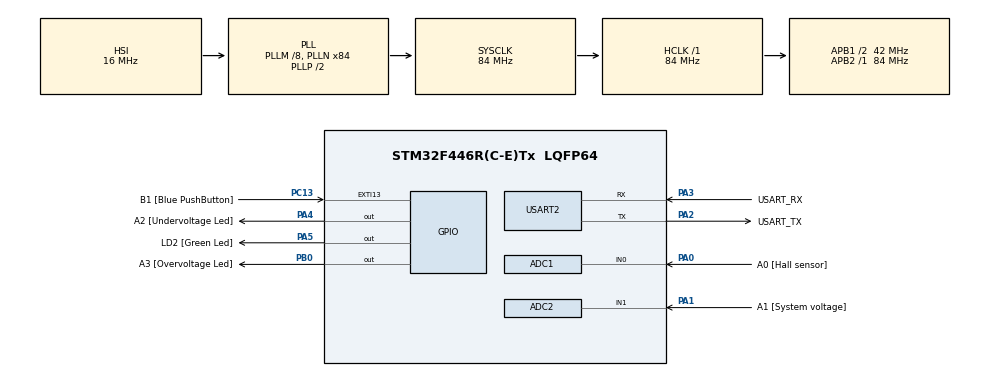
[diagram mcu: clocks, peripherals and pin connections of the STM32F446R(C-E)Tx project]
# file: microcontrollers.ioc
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ADC1.Channel-0\#ChannelRegularConversion=ADC_CHANNEL_0
ADC1.ClockPrescaler=ADC_CLOCK_SYNC_PCLK_DIV4
ADC1.NbrOfConversionFlag=1
ADC1.Rank-0\#ChannelRegularConversion=1
ADC1.SamplingTime-0\#ChannelRegularConversion=ADC_SAMPLETIME_3CYCLES
ADC1.master=1
ADC2.Channel-0\#ChannelRegularConversion=ADC_CHANNEL_1
ADC2.ClockPrescaler=ADC_CLOCK_SYNC_PCLK_DIV4
ADC2.NbrOfConversionFlag=1
ADC2.Rank-0\#ChannelRegularConversion=1
ADC2.SamplingTime-0\#ChannelRegularConversion=ADC_SAMPLETIME_3CYCLES
Mcu.Family=STM32F4
Mcu.Name=STM32F446R(C-E)Tx
Mcu.Package=LQFP64
NVIC.EXTI15_10_IRQn=true\:0\:0\:false\:false\:true\:true\:true\:true
NVIC.PriorityGroup=NVIC_PRIORITYGROUP_0
NVIC.TIM8_TRG_COM_TIM14_IRQn=true\:0\:0\:false\:false\:true\:true\:true\:true
NVIC.TIM8_UP_TIM13_IRQn=true\:0\:0\:false\:false\:true\:true\:true\:true
PA0-WKUP.GPIO_Label=A0 [Hall sensor]
PA0-WKUP.Signal=ADCx_IN0
PA1.GPIO_Label=A1 [System voltage]
PA1.Signal=ADCx_IN1
PA13.GPIO_Label=TMS
PA13.Mode=Serial_Wire
PA13.Signal=SYS_JTMS-SWDIO
PA14.GPIO_Label=TCK
PA14.Mode=Serial_Wire
PA14.Signal=SYS_JTCK-SWCLK
PA2.GPIO_Label=USART_TX
PA2.Mode=Asynchronous
PA2.Signal=USART2_TX
PA3.GPIO_Label=USART_RX
PA3.Mode=Asynchronous
PA3.Signal=USART2_RX
PA4.GPIO_Label=A2 [Undervoltage Led]
PA4.Signal=GPIO_Output
PA5.GPIO_Label=LD2 [Green Led]
PA5.Signal=GPIO_Output
PB0.GPIO_Label=A3 [Overvoltage Led]
PB0.Signal=GPIO_Output
PB3.GPIO_Label=SWO
PB3.Signal=SYS_JTDO-SWO
PC13.GPIO_Label=B1 [Blue PushButton]
PC13.GPIO_ModeDefaultEXTI=GPIO_MODE_IT_FALLING
PC13.Signal=GPXTI13
PC14-OSC32_IN.Mode=LSE-External-Oscillator
PC14-OSC32_IN.Signal=RCC_OSC32_IN
PC15-OSC32_OUT.Mode=LSE-External-Oscillator
PC15-OSC32_OUT.Signal=RCC_OSC32_OUT
PH0-OSC_IN.Mode=HSE-External-Oscillator
PH0-OSC_IN.Signal=RCC_OSC_IN
PH1-OSC_OUT.Mode=HSE-External-Oscillator
PH1-OSC_OUT.Signal=RCC_OSC_OUT
ProjectManager.HeapSize=0x200
ProjectManager.StackSize=0x400
ProjectManager.TargetToolchain=Makefile
RCC.48MHZClocksFreq_Value=84000000
RCC.AHBFreq_Value=84000000
RCC.APB1CLKDivider=RCC_HCLK_DIV2
RCC.APB1Freq_Value=42000000
RCC.APB1TimFreq_Value=84000000
RCC.APB2Freq_Value=84000000
RCC.APB2TimFreq_Value=84000000
RCC.CortexFreq_Value=84000000
RCC.FLatency-AdvancedSettings=FLASH_LATENCY_2
RCC.HCLKFreq_Value=84000000
RCC.HSE_VALUE=8000000
RCC.HSI_VALUE=16000000
RCC.PLLM=8
RCC.PLLN=84
RCC.SYSCLKFreq_VALUE=84000000
RCC.SYSCLKSource=RCC_SYSCLKSOURCE_PLLCLK
RCC.USBFreq_Value=84000000
RCC.VCOOutputFreq_Value=168000000
SH.ADCx_IN0.0=ADC1_IN0,IN0
SH.ADCx_IN1.0=ADC2_IN1,IN1
TIM13.Period=2000 - 1
TIM13.Prescaler=8400 - 1
TIM14.Period=3500 - 1
TIM14.Prescaler=8400 - 1
USART2.VirtualMode=VM_ASYNC
VP_ADC1_TempSens_Input.Mode=IN-TempSens
VP_TIM13_VS_ClockSourceINT.Mode=Enable_Timer
VP_TIM14_VS_ClockSourceINT.Mode=Enable_Timer
board=NUCLEO-F446RE

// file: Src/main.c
/* USER CODE BEGIN Header */
/**
  ******************************************************************************
  * @file           : main.c
  * @brief          : Main program body
  ******************************************************************************
  * @attention
  *
  * Copyright (c) 2022 STMicroelectronics.
  * All rights reserved.
  *
  * This software is licensed under terms that can be found in the LICENSE file
  * in the root directory of this software component.
  * If no LICENSE file comes with this software, it is provided AS-IS.
  *
  ******************************************************************************
  */
/* USER CODE END Header */
#include "main.h"

/* USER CODE BEGIN Includes */
#include <stdio.h>
#include <stdlib.h>
#include <string.h>
#include <math.h>
/* USER CODE END Includes */

/* USER CODE BEGIN PTD */
typedef enum {
	DANGER,
	WAITING,
	RUNNING
} State;

typedef uint8_t bool_t;
/* USER CODE END PTD */

/* USER CODE BEGIN PD */
#define FALSE 0
#define TRUE 1

#define SENSOR_TIMER htim13
#define VOLTAGE_TIMER htim14

#define SENSOR_ADC hadc1
#define VOLTAGE_ADC hadc2

#define UNDER_LED_PERIPHERAL GPIOA
#define OVER_LED_PERIPHERAL GPIOB
/* USER CODE END PD */

ADC_HandleTypeDef hadc1;
ADC_HandleTypeDef hadc2;

TIM_HandleTypeDef htim13;
TIM_HandleTypeDef htim14;

UART_HandleTypeDef huart2;

/* USER CODE BEGIN PV */

// Pins
static const uint16_t BUTTON_PIN = GPIO_PIN_13;
static const uint16_t UNDER_LED_PIN = GPIO_PIN_4;
static const uint16_t OVER_LED_PIN  = GPIO_PIN_0;

// Timeouts
static const uint32_t VOLTAGE_POLL_TIMEOUT  = 150;
static const uint32_t SENSOR_POLL_TIMEOUT   = 150;
static const uint32_t UART_TRANSMIT_TIMEOUT = 200;

// Messages
static const char WAIT_MSG[] = "Board in waiting state - please press the emergency button\r\n";
static const char DANGER_MSG[] = "Danger, voltage out of the expected range!\r\n";
static const char VOLTAGE_ERROR_MSG[] = "Error while reading voltage value!\r\n";
static const char SENSOR_ERROR_MSG[] = "Error while reading sensor value!\r\n";
static const char VOLTAGE_BUSY_MSG[] = "Waiting for voltage ADC conversion\r\n";
static const char SENSOR_BUSY_MSG[] = "Waiting for sensor ADC conversion\r\n";
static const char LOWER_SENSOR_THRESHOLD_MSG[] = "Sensor output too low - Maybe sensor is missing\r\n";
static const char UPPER_SENSOR_THRESHOLD_MSG[] = "Sensor output too high\r\n";

// Maximum voltage value in mV
static const uint16_t MAX_VOLTAGE_VALUE = 5000;
static const uint16_t MAX_SENSOR_VALUE = 3300;
// System voltage range in mV
static const uint16_t UNDERVOLTAGE = 1800;
static const uint16_t OVERVOLTAGE  = 2700;
// Sensor value range in Gs
static const int LOWER_SENSOR_THRESHOLD = -1000l;
static const int UPPER_SENSOR_THRESHOLD = 1000l;

static State current_state;
static uint16_t voltage;
static uint16_t sensor_val;

static bool_t can_read_voltage;
static bool_t can_read_sensor;
/* USER CODE END PV */

void SystemClock_Config(void);
static void MX_GPIO_Init(void);
static void MX_USART2_UART_Init(void);
static void MX_ADC1_Init(void);
static void MX_TIM13_Init(void);
static void MX_TIM14_Init(void);
static void MX_ADC2_Init(void);
/* USER CODE BEGIN PFP */
void danger(void);
void wait(void);
void run(void);

void uart_print(const char*);

void read_voltage(void);
void read_sensor(void);
void set_under_led(bool_t);   // Set undervoltage led
void set_over_led(bool_t);    // Set overvoltage led
/* USER CODE END PFP */

int main(void)
{
  /* USER CODE BEGIN 1 */
  current_state = RUNNING;

  voltage    = 0;
  sensor_val = 0;

  can_read_voltage = FALSE;
  can_read_sensor  = FALSE;
  /* USER CODE END 1 */

  /* MCU Configuration--------------------------------------------------------*/

  /* Reset of all peripherals, Initializes the Flash interface and the Systick. */
  HAL_Init();

  /* Configure the system clock */
  SystemClock_Config();

  /* Initialize all configured peripherals */
  MX_GPIO_Init();
  MX_USART2_UART_Init();
  MX_ADC1_Init();
  MX_TIM13_Init();
  MX_TIM14_Init();
  MX_ADC2_Init();
  /* USER CODE BEGIN 2 */
  // Start timers
  __HAL_TIM_CLEAR_IT(&SENSOR_TIMER ,TIM_IT_UPDATE);
  __HAL_TIM_CLEAR_IT(&VOLTAGE_TIMER ,TIM_IT_UPDATE);
  HAL_TIM_Base_Start_IT(&SENSOR_TIMER);
	HAL_TIM_Base_Start_IT(&VOLTAGE_TIMER);

  // Enable ADC
  HAL_ADC_Start(&SENSOR_ADC);
  HAL_ADC_Start(&VOLTAGE_ADC);

  /* USER CODE END 2 */

  /* Infinite loop */
  /* USER CODE BEGIN WHILE */
  while (1)
  {
		switch (current_state)
		{
			case DANGER:
				danger();
				break;
			case WAITING:
				wait();
				break;
			case RUNNING:
				run();
				break;
		}
    /* USER CODE END WHILE */

    /* USER CODE BEGIN 3 */
  }

  // Stop timers
	HAL_TIM_Base_Stop_IT(&SENSOR_TIMER);
	HAL_TIM_Base_Stop_IT(&VOLTAGE_TIMER);

  // Disable ADC
  HAL_ADC_Stop(&SENSOR_ADC);
  HAL_ADC_Stop(&VOLTAGE_ADC);
  /* USER CODE END 3 */
}

void SystemClock_Config(void)
{
  RCC_OscInitTypeDef RCC_OscInitStruct = {0};
  RCC_ClkInitTypeDef RCC_ClkInitStruct = {0};

  /** Configure the main internal regulator output voltage
  */
  __HAL_RCC_PWR_CLK_ENABLE();
  __HAL_PWR_VOLTAGESCALING_CONFIG(PWR_REGULATOR_VOLTAGE_SCALE3);

  /** Initializes the RCC Oscillators according to the specified parameters
  * in the RCC_OscInitTypeDef structure.
  */
  RCC_OscInitStruct.OscillatorType = RCC_OSCILLATORTYPE_HSI;
  RCC_OscInitStruct.HSIState = RCC_HSI_ON;
  RCC_OscInitStruct.HSICalibrationValue = RCC_HSICALIBRATION_DEFAULT;
  RCC_OscInitStruct.PLL.PLLState = RCC_PLL_ON;
  RCC_OscInitStruct.PLL.PLLSource = RCC_PLLSOURCE_HSI;
  RCC_OscInitStruct.PLL.PLLM = 8;
  RCC_OscInitStruct.PLL.PLLN = 84;
  RCC_OscInitStruct.PLL.PLLP = RCC_PLLP_DIV2;
  RCC_OscInitStruct.PLL.PLLQ = 2;
  RCC_OscInitStruct.PLL.PLLR = 2;
  if (HAL_RCC_OscConfig(&RCC_OscInitStruct) != HAL_OK)
  {
    Error_Handler();
  }

  /** Initializes the CPU, AHB and APB buses clocks
  */
  RCC_ClkInitStruct.ClockType = RCC_CLOCKTYPE_HCLK|RCC_CLOCKTYPE_SYSCLK
                              |RCC_CLOCKTYPE_PCLK1|RCC_CLOCKTYPE_PCLK2;
  RCC_ClkInitStruct.SYSCLKSource = RCC_SYSCLKSOURCE_PLLCLK;
  RCC_ClkInitStruct.AHBCLKDivider = RCC_SYSCLK_DIV1;
  RCC_ClkInitStruct.APB1CLKDivider = RCC_HCLK_DIV2;
  RCC_ClkInitStruct.APB2CLKDivider = RCC_HCLK_DIV1;

  if (HAL_RCC_ClockConfig(&RCC_ClkInitStruct, FLASH_LATENCY_2) != HAL_OK)
  {
    Error_Handler();
  }
}

static void MX_ADC1_Init(void)
{

  ADC_ChannelConfTypeDef sConfig = {0};

  /** Configure the global features of the ADC (Clock, Resolution, Data Alignment and number of conversion)
  */
  hadc1.Instance = ADC1;
  hadc1.Init.ClockPrescaler = ADC_CLOCK_SYNC_PCLK_DIV4;
  hadc1.Init.Resolution = ADC_RESOLUTION_12B;
  hadc1.Init.ScanConvMode = DISABLE;
  hadc1.Init.ContinuousConvMode = DISABLE;
  hadc1.Init.DiscontinuousConvMode = DISABLE;
  hadc1.Init.ExternalTrigConvEdge = ADC_EXTERNALTRIGCONVEDGE_NONE;
  hadc1.Init.ExternalTrigConv = ADC_SOFTWARE_START;
  hadc1.Init.DataAlign = ADC_DATAALIGN_RIGHT;
  hadc1.Init.NbrOfConversion = 1;
  hadc1.Init.DMAContinuousRequests = DISABLE;
  hadc1.Init.EOCSelection = ADC_EOC_SINGLE_CONV;
  if (HAL_ADC_Init(&hadc1) != HAL_OK)
  {
    Error_Handler();
  }

  /** Configure for the selected ADC regular channel its corresponding rank in the sequencer and its sample time.
  */
  sConfig.Channel = ADC_CHANNEL_0;
  sConfig.Rank = 1;
  sConfig.SamplingTime = ADC_SAMPLETIME_3CYCLES;
  if (HAL_ADC_ConfigChannel(&hadc1, &sConfig) != HAL_OK)
  {
    Error_Handler();
  }

}

static void MX_ADC2_Init(void)
{

  ADC_ChannelConfTypeDef sConfig = {0};

  /** Configure the global features of the ADC (Clock, Resolution, Data Alignment and number of conversion)
  */
  hadc2.Instance = ADC2;
  hadc2.Init.ClockPrescaler = ADC_CLOCK_SYNC_PCLK_DIV4;
  hadc2.Init.Resolution = ADC_RESOLUTION_12B;
  hadc2.Init.ScanConvMode = DISABLE;
  hadc2.Init.ContinuousConvMode = DISABLE;
  hadc2.Init.DiscontinuousConvMode = DISABLE;
  hadc2.Init.ExternalTrigConvEdge = ADC_EXTERNALTRIGCONVEDGE_NONE;
  hadc2.Init.ExternalTrigConv = ADC_SOFTWARE_START;
  hadc2.Init.DataAlign = ADC_DATAALIGN_RIGHT;
  hadc2.Init.NbrOfConversion = 1;
  hadc2.Init.DMAContinuousRequests = DISABLE;
  hadc2.Init.EOCSelection = ADC_EOC_SINGLE_CONV;
  if (HAL_ADC_Init(&hadc2) != HAL_OK)
  {
    Error_Handler();
  }

  /** Configure for the selected ADC regular channel its corresponding rank in the sequencer and its sample time.
  */
  sConfig.Channel = ADC_CHANNEL_1;
  sConfig.Rank = 1;
  sConfig.SamplingTime = ADC_SAMPLETIME_3CYCLES;
  if (HAL_ADC_ConfigChannel(&hadc2, &sConfig) != HAL_OK)
  {
    Error_Handler();
  }

}

static void MX_TIM13_Init(void)
{

  htim13.Instance = TIM13;
  htim13.Init.Prescaler = 8400 - 1;
  htim13.Init.CounterMode = TIM_COUNTERMODE_UP;
  htim13.Init.Period = 2000 - 1;
  htim13.Init.ClockDivision = TIM_CLOCKDIVISION_DIV1;
  htim13.Init.AutoReloadPreload = TIM_AUTORELOAD_PRELOAD_DISABLE;
  if (HAL_TIM_Base_Init(&htim13) != HAL_OK)
  {
    Error_Handler();
  }

}

static void MX_TIM14_Init(void)
{

  htim14.Instance = TIM14;
  htim14.Init.Prescaler = 8400 - 1;
  htim14.Init.CounterMode = TIM_COUNTERMODE_UP;
  htim14.Init.Period = 3500 - 1;
  htim14.Init.ClockDivision = TIM_CLOCKDIVISION_DIV1;
  htim14.Init.AutoReloadPreload = TIM_AUTORELOAD_PRELOAD_DISABLE;
  if (HAL_TIM_Base_Init(&htim14) != HAL_OK)
  {
    Error_Handler();
  }

}

static void MX_USART2_UART_Init(void)
{

  huart2.Instance = USART2;
  huart2.Init.BaudRate = 115200;
  huart2.Init.WordLength = UART_WORDLENGTH_8B;
  huart2.Init.StopBits = UART_STOPBITS_1;
  huart2.Init.Parity = UART_PARITY_NONE;
  huart2.Init.Mode = UART_MODE_TX_RX;
  huart2.Init.HwFlowCtl = UART_HWCONTROL_NONE;
  huart2.Init.OverSampling = UART_OVERSAMPLING_16;
  if (HAL_UART_Init(&huart2) != HAL_OK)
  {
    Error_Handler();
  }

}

static void MX_GPIO_Init(void)
{
  GPIO_InitTypeDef GPIO_InitStruct = {0};

  /* GPIO Ports Clock Enable */
  __HAL_RCC_GPIOC_CLK_ENABLE();
  __HAL_RCC_GPIOH_CLK_ENABLE();
  __HAL_RCC_GPIOA_CLK_ENABLE();
  __HAL_RCC_GPIOB_CLK_ENABLE();

  /*Configure GPIO pin Output Level */
  HAL_GPIO_WritePin(GPIOA, A2_Pin|LD2_Pin, GPIO_PIN_RESET);

  /*Configure GPIO pin Output Level */
  HAL_GPIO_WritePin(A3_GPIO_Port, A3_Pin, GPIO_PIN_RESET);

  /*Configure GPIO pin : B1_Pin */
  GPIO_InitStruct.Pin = B1_Pin;
  GPIO_InitStruct.Mode = GPIO_MODE_IT_FALLING;
  GPIO_InitStruct.Pull = GPIO_NOPULL;
  HAL_GPIO_Init(B1_GPIO_Port, &GPIO_InitStruct);

  /*Configure GPIO pins : A2_Pin LD2_Pin */
  GPIO_InitStruct.Pin = A2_Pin|LD2_Pin;
  GPIO_InitStruct.Mode = GPIO_MODE_OUTPUT_PP;
  GPIO_InitStruct.Pull = GPIO_NOPULL;
  GPIO_InitStruct.Speed = GPIO_SPEED_FREQ_LOW;
  HAL_GPIO_Init(GPIOA, &GPIO_InitStruct);

  /*Configure GPIO pin : A3_Pin */
  GPIO_InitStruct.Pin = A3_Pin;
  GPIO_InitStruct.Mode = GPIO_MODE_OUTPUT_PP;
  GPIO_InitStruct.Pull = GPIO_NOPULL;
  GPIO_InitStruct.Speed = GPIO_SPEED_FREQ_LOW;
  HAL_GPIO_Init(A3_GPIO_Port, &GPIO_InitStruct);

  /* EXTI interrupt init*/
  HAL_NVIC_SetPriority(EXTI15_10_IRQn, 0, 0);
  HAL_NVIC_EnableIRQ(EXTI15_10_IRQn);

}

/* USER CODE BEGIN 4 */
// Button interrupt handler
void HAL_GPIO_EXTI_Callback(uint16_t GPIO_Pin) {
	// Check if button is pressed
	if (GPIO_Pin == BUTTON_PIN) {
		if (current_state == WAITING) {
			current_state = RUNNING;
		}
		else {
			current_state = WAITING;
		}
	}
}
// Timer callback function
void HAL_TIM_PeriodElapsedCallback(TIM_HandleTypeDef *htim) {
	// Check system voltage value
	if (htim == &VOLTAGE_TIMER) {
    can_read_voltage = TRUE;
  }

  // Check sensor value
	if (current_state == RUNNING && htim == &SENSOR_TIMER) {
    can_read_sensor = TRUE;
  }
}

void danger(void) {
  // Read system voltage
  if (can_read_voltage) {
    read_voltage();
    can_read_voltage = FALSE;

    // Print voltage value
    char msg[40];
    snprintf(msg, 40, "[%10lu] Voltage: %hu mV\r\n", HAL_GetTick() / 10ul, voltage);
    uart_print(msg);

    // Turn on led based on voltage value
    if (voltage < UNDERVOLTAGE) {
      if (!HAL_GPIO_ReadPin(UNDER_LED_PERIPHERAL, UNDER_LED_PIN)) {
        set_under_led(TRUE);
        set_over_led(FALSE);
        uart_print("Undervoltage led - ON\r\n");
        uart_print("Overvoltage led  - OFF\r\n");
      }
    }
    else if (voltage > OVERVOLTAGE) {
      if (!HAL_GPIO_ReadPin(OVER_LED_PERIPHERAL, OVER_LED_PIN)) {
        set_under_led(FALSE);
        set_over_led(TRUE);
        uart_print("Undervoltage led - OFF\r\n");
        uart_print("Overvoltage led  - ON\r\n");
      }
    }
    else {
      // Exit danger state
      set_under_led(FALSE);
      set_over_led(FALSE);
      uart_print("Undervoltage led - OFF\r\n");
      uart_print("Overvoltage led  - OFF\r\n");
      current_state = RUNNING;
    }
  }
}
void wait(void) {
	uart_print(WAIT_MSG);
	HAL_Delay(500);
}
void run(void) {
  // Read sensor value
  if (can_read_sensor) {
    read_sensor();
    can_read_sensor = FALSE;

    // Print sensor value
    char msg[40];
    double gauss_val = ((double)sensor_val - 1650.0) / 1.065;
    int unit = trunc(gauss_val * 1000.0);
    uint16_t decimal = abs(unit) % 1000;
    unit /= 1000;
    snprintf(msg, 40, "[%10lu] Sensor: %d.%03hu Gs\r\n", HAL_GetTick() / 10ul, unit, decimal);
    uart_print(msg);

    // Check if sensor value is in range
    if (unit < LOWER_SENSOR_THRESHOLD) {
      uart_print(LOWER_SENSOR_THRESHOLD_MSG);
    }
    else if (unit > UPPER_SENSOR_THRESHOLD) {
      uart_print(UPPER_SENSOR_THRESHOLD_MSG);
    }
  }

  // Read system voltage
  if (can_read_voltage) {
		read_voltage();
    can_read_voltage = FALSE;

    // Print voltage value
    char msg[40];
    snprintf(msg, 40, "[%10lu] Voltage: %hu mV\r\n", HAL_GetTick() / 10ul, voltage);
    uart_print(msg);

    // Check if voltage is in range
    if (voltage < UNDERVOLTAGE || voltage > OVERVOLTAGE) {
        uart_print(DANGER_MSG);
        current_state = DANGER;
    }
  }
}

void read_voltage(void) {
  HAL_ADC_Start(&VOLTAGE_ADC);
  HAL_StatusTypeDef voltage_status = HAL_ADC_PollForConversion(&VOLTAGE_ADC, VOLTAGE_POLL_TIMEOUT);
  HAL_ADC_Stop(&VOLTAGE_ADC);

  switch (voltage_status)
  {
    case HAL_OK:
      voltage = HAL_ADC_GetValue(&VOLTAGE_ADC) / 4096.0 * MAX_VOLTAGE_VALUE;
      break;
    case HAL_ERROR:
      uart_print(VOLTAGE_ERROR_MSG);
      break;
    case HAL_BUSY:
      uart_print(VOLTAGE_BUSY_MSG);
      break;
    case HAL_TIMEOUT:
      break;
  }
}
void read_sensor(void) {
  HAL_ADC_Start(&SENSOR_ADC);
  HAL_StatusTypeDef sensor_status = HAL_ADC_PollForConversion(&SENSOR_ADC, SENSOR_POLL_TIMEOUT);
  HAL_ADC_Stop(&SENSOR_ADC);

  switch (sensor_status)
  {
    case HAL_OK:
      sensor_val = HAL_ADC_GetValue(&SENSOR_ADC) / 4096.0 * MAX_SENSOR_VALUE;
      break;
    case HAL_ERROR:
      uart_print(SENSOR_ERROR_MSG);
      break;
    case HAL_BUSY:
      uart_print(SENSOR_BUSY_MSG);
      break;
    case HAL_TIMEOUT:
      break;
  }
}

// Set undervoltage led
void set_under_led(bool_t val) {
  HAL_GPIO_WritePin(UNDER_LED_PERIPHERAL, UNDER_LED_PIN, val);
}
// Set overvoltage led
void set_over_led(bool_t val) {
  HAL_GPIO_WritePin(OVER_LED_PERIPHERAL, OVER_LED_PIN, val);
}

void uart_print(const char* msg) {
	HAL_UART_Transmit(&huart2, (uint8_t*) msg, strlen(msg), UART_TRANSMIT_TIMEOUT);
}
/* USER CODE END 4 */

void Error_Handler(void)
{
  __disable_irq();
  while (1)
  {
  }
}
